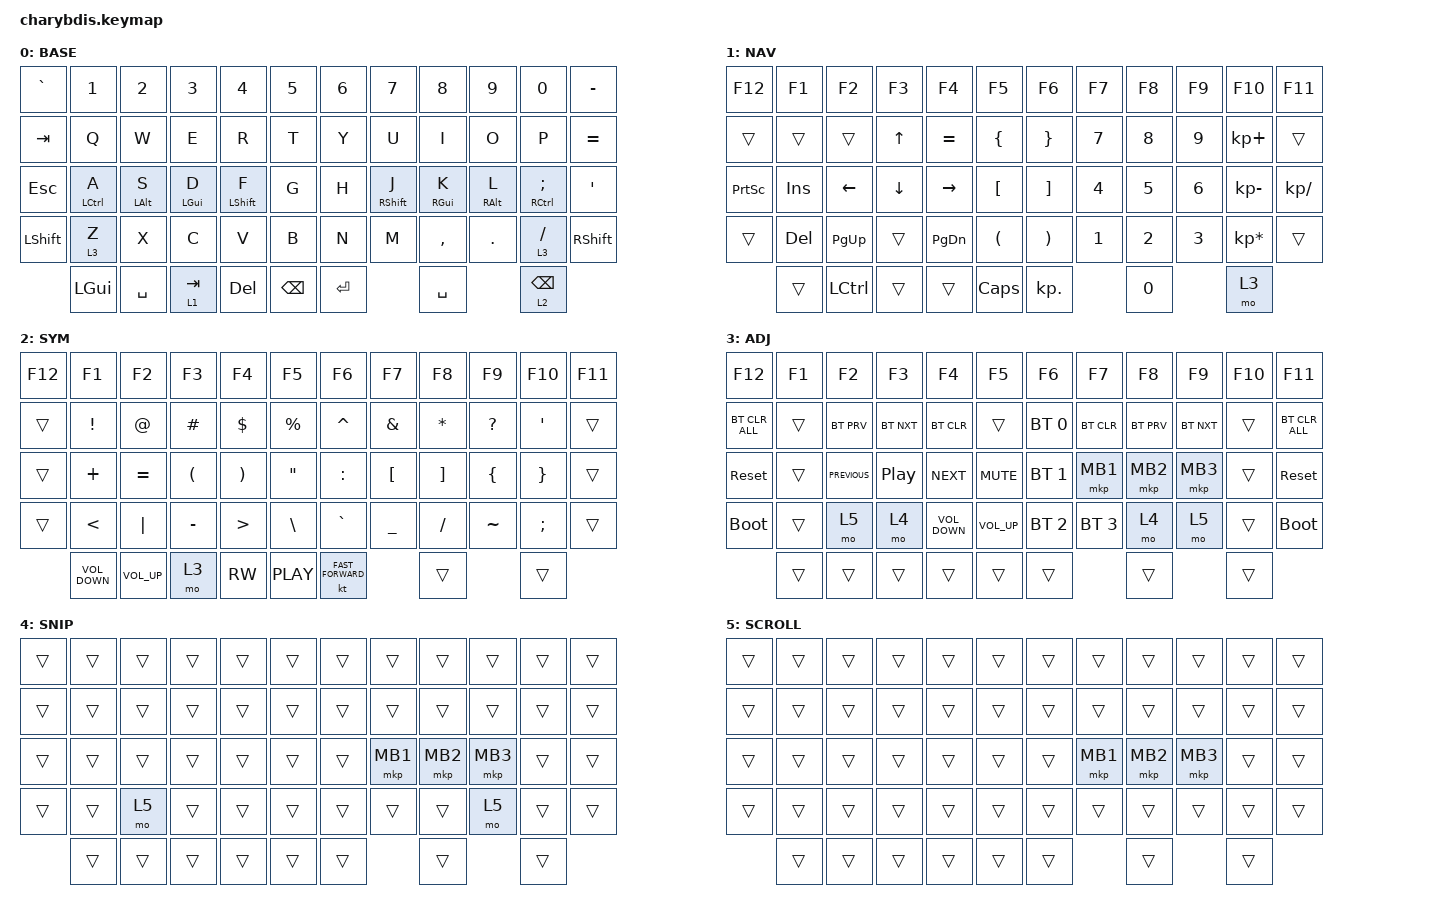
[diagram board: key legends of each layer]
#include <dt-bindings/zmk/mouse.h>
#include <behaviors/mouse_keys.dtsi>
#include <behaviors.dtsi>
#include <dt-bindings/zmk/bt.h>
#include <dt-bindings/zmk/keys.h>
#include <dt-bindings/zmk/pointing.h>

/ {
    chosen { zmk,matrix_transform = &default_transform; };
};

&mt {
    quick-tap-ms = <200>;
    flavor = "tap-preferred";
    tapping-term-ms = <170>;
};

&lt {
    quick-tap-ms = <200>;
    flavor = "tap-preferred";
    tapping-term-ms = <170>;
};

/ {
    combos {
        compatible = "zmk,combos";

        combo_esc {
            timeout-ms = <50>;
            key-positions = <0 1>;
            bindings = <&kp ESC>;
        };
    };

    keymap {
        compatible = "zmk,keymap";

        BASE {
            bindings = <
&kp GRAVE   &kp N1        &kp N2      &kp N3      &kp N4        &kp N5         &kp N6     &kp N7        &kp N8      &kp N9      &kp N0           &kp MINUS
&kp TAB     &kp Q         &kp W       &kp E       &kp R         &kp T          &kp Y      &kp U         &kp I       &kp O       &kp P            &kp EQUAL
&kp ESC     &mt LCTRL A   &mt LALT S  &mt LGUI D  &mt LSHIFT F  &kp G          &kp H      &mt RSHIFT J  &mt RGUI K  &mt RALT L  &mt RCTRL SEMI   &kp APOS
&kp LSHIFT  &lt 3 Z       &kp X       &kp C       &kp V         &kp B          &kp N      &kp M         &kp COMMA   &kp DOT     &lt 3 SLASH      &kp RSHIFT
            &kp LEFT_GUI  &kp SPACE   &lt 1 TAB   &kp DEL       &kp BACKSPACE  &kp ENTER                &kp SPACE               &lt 2 BACKSPACE
            >;
        };

        NAV {
            bindings = <
&kp F12          &kp F1      &kp F2            &kp F3    &kp F4     &kp F5        &kp F6      &kp F7  &kp F8  &kp F9  &kp F10          &kp F11
&trans           &trans      &trans            &kp UP    &kp EQUAL  &kp LBRC      &kp RBRC    &kp N7  &kp N8  &kp N9  &kp KP_PLUS      &trans
&kp PRINTSCREEN  &kp INSERT  &kp LEFT          &kp DOWN  &kp RIGHT  &kp LBKT      &kp RBKT    &kp N4  &kp N5  &kp N6  &kp KP_MINUS     &kp KP_DIVIDE
&trans           &kp DEL     &kp PG_UP         &trans    &kp PG_DN  &kp LPAR      &kp RPAR    &kp N1  &kp N2  &kp N3  &kp KP_MULTIPLY  &trans
                 &trans      &kp LEFT_CONTROL  &trans    &trans     &kp CAPSLOCK  &kp KP_DOT          &kp N0          &mo 3
            >;
        };

        SYM {
            bindings = <
&kp F12  &kp F1             &kp F2        &kp F3     &kp F4            &kp F5         &kp F6              &kp F7          &kp F8     &kp F9        &kp F10        &kp F11
&trans   &kp EXCL           &kp AT        &kp HASH   &kp DLLR          &kp PRCNT      &kp CARET           &kp AMPS        &kp STAR   &kp QUESTION  &kp SQT        &trans
&trans   &kp PLUS           &kp EQUAL     &kp LPAR   &kp RPAR          &kp DQT        &kp COLON           &kp LBKT        &kp RBKT   &kp LBRC      &kp RBRC       &trans
&trans   &kp LESS_THAN      &kp PIPE      &kp MINUS  &kp GREATER_THAN  &kp BACKSLASH  &kp GRAVE           &kp UNDERSCORE  &kp SLASH  &kp TILDE     &kp SEMICOLON  &trans
         &kp C_VOLUME_DOWN  &kp C_VOL_UP  &mo 3      &kp C_RW          &kp C_PLAY     &kt C_FAST_FORWARD                  &trans                   &trans
            >;
        };

        ADJ {
            bindings = <
&kp F12         &kp F1  &kp F2          &kp F3            &kp F4             &kp F5           &kp F6        &kp F7        &kp F8      &kp F9      &kp F10  &kp F11
&bt BT_CLR_ALL  &trans  &bt BT_PRV      &bt BT_NXT        &bt BT_CLR         &trans           &bt BT_SEL 0  &bt BT_CLR    &bt BT_PRV  &bt BT_NXT  &trans   &bt BT_CLR_ALL
&sys_reset      &trans  &kp C_PREVIOUS  &kp C_PLAY_PAUSE  &kp C_NEXT         &kp C_MUTE       &bt BT_SEL 1  &mkp MB1      &mkp MB2    &mkp MB3    &trans   &sys_reset
&bootloader     &trans  &mo 5           &mo 4             &kp C_VOLUME_DOWN  &kp C_VOLUME_UP  &bt BT_SEL 2  &bt BT_SEL 3  &mo 4       &mo 5       &trans   &bootloader
                &trans  &trans          &trans            &trans             &trans           &trans                      &trans                  &trans
            >;
        };

        SNIP {
            bindings = <
&trans  &trans  &trans  &trans  &trans  &trans  &trans  &trans    &trans    &trans    &trans  &trans
&trans  &trans  &trans  &trans  &trans  &trans  &trans  &trans    &trans    &trans    &trans  &trans
&trans  &trans  &trans  &trans  &trans  &trans  &trans  &mkp MB1  &mkp MB2  &mkp MB3  &trans  &trans
&trans  &trans  &mo 5   &trans  &trans  &trans  &trans  &trans    &trans    &mo 5     &trans  &trans
        &trans  &trans  &trans  &trans  &trans  &trans            &trans              &trans
            >;
        };

        SCROLL {
            bindings = <
&trans  &trans  &trans  &trans  &trans  &trans  &trans  &trans    &trans    &trans    &trans  &trans
&trans  &trans  &trans  &trans  &trans  &trans  &trans  &trans    &trans    &trans    &trans  &trans
&trans  &trans  &trans  &trans  &trans  &trans  &trans  &mkp MB1  &mkp MB2  &mkp MB3  &trans  &trans
&trans  &trans  &trans  &trans  &trans  &trans  &trans  &trans    &trans    &trans    &trans  &trans
        &trans  &trans  &trans  &trans  &trans  &trans            &trans              &trans
            >;
        };
    };
};
